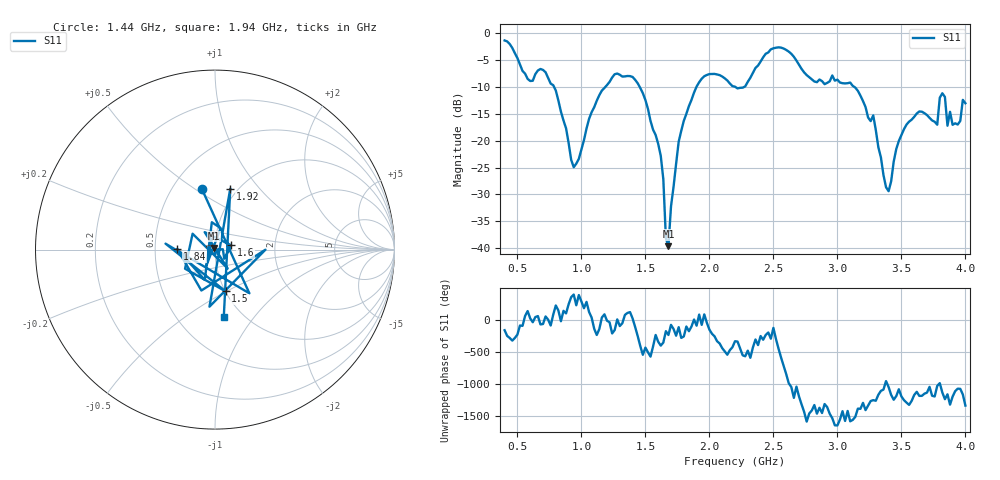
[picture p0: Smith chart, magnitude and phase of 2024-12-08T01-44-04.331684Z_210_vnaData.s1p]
!Created with skrf (http://scikit-rf.org).
# Hz S RI R 50.0
!freq ReS11 ImS11
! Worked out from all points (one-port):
!   181 points, 400 MHz to 4 GHz, reference 50 ohm
!   lowest |S11| = -39.6 dB at 1.68 GHz (marker M1), VSWR 1.02, Z = 49.5 + j0.893 ohm
!   |S11| at or under -10 dB: 787 MHz to 1.186 GHz (398.9 MHz wide, 40.4 % of centre); 1.456 GHz to 1.898 GHz (442.2 MHz wide, 26.4 % of centre); 3.134 GHz to end of sweep (the widest 3 of 4)
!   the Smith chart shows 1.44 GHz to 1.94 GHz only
!   S11 on the Smith chart (normalised r, x): 1.44 GHz: 0.70, +0.53; 1.5 GHz: 1.00, -0.49; 1.6 GHz: 1.20, +0.06; 1.84 GHz: 0.65, +0.01; 1.92 GHz: 0.92, +0.71; 1.94 GHz: 0.82, -0.72
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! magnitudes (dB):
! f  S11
! 400 MHz  -1.3
! 600 MHz  -8.9
! 720 MHz  -7.2
! 860 MHz  -16.2
! 940 MHz  -24.9
! 1.14 GHz  -11.5
! 1.3 GHz  -7.7
! 1.44 GHz  -9.3
! 1.5 GHz  -12.4
! 1.6 GHz  -20.6
! 1.66 GHz  -38.1
! 1.68 GHz  -39.6
! 1.76 GHz  -20.2
! 1.84 GHz  -13.5
! 1.92 GHz  -9.1
! 1.94 GHz  -8.4
! 2.2 GHz  -9.9
! 2.48 GHz  -3.0
! 2.66 GHz  -4.4
! 3.1 GHz  -9.2
! 3.28 GHz  -15.3
! 3.4 GHz  -29.4
! 3.56 GHz  -16.4
! 3.78 GHz  -17.0
! 3.82 GHz  -11.2
! 3.86 GHz  -17.2
! 3.94 GHz  -17.0
! 4 GHz  -13.0
